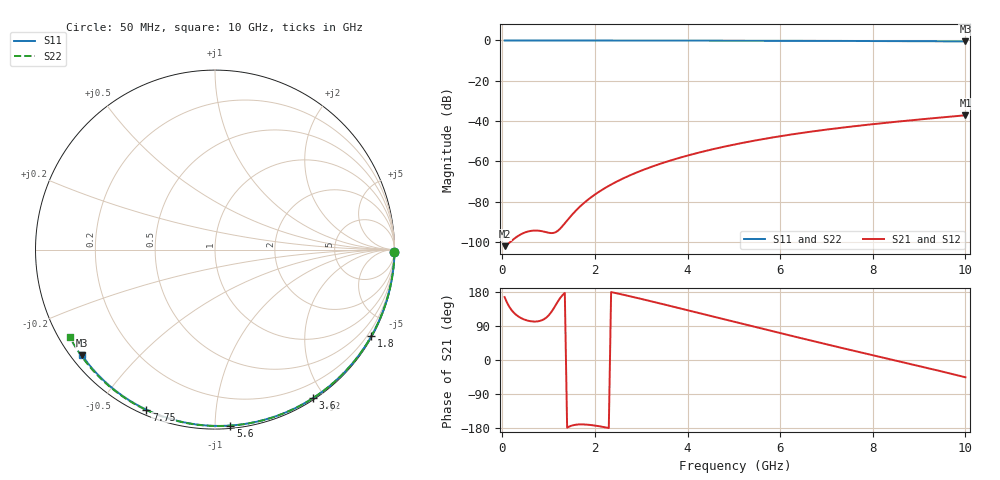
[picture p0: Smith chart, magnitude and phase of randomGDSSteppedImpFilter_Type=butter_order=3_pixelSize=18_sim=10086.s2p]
! freq	dB(S11)	phase(S11)	dB(S12)	phase(S12)
!  dB(S21)	phase(S21)	dB(S22)	phase(S22)
!S-par simulation data
#  GHz  S  DB  R 50
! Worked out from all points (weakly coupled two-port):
!   200 points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, 50 MHz to 10 GHz, reference 50 ohm
!   highest |S21| = -37.15 dB at 10 GHz (marker M1); lowest = -102.1 dB at 50 MHz (marker M2)
!   lowest |S11| = -0.5 dB at 10 GHz (marker M3), VSWR 36.29, Z = 1.55 - j17.5 ohm
!   |S11| at or under -10 dB: nowhere
!   |S22| runs from -0.5 to 0.0 dB; largest |S21 - S12| = 0
!   S11 on the Smith chart (normalised r, x): 50 MHz: open; 1.8 GHz: 0.03, -3.87; 3.6 GHz: 0.02, -1.86; 5.6 GHz: 0.02, -1.09; 7.75 GHz: 0.02, -0.66; 10 GHz: 0.03, -0.35
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0.05  -0.00 -0.8  -102.09 166.0  -102.09 166.0  -0.00 -0.9
0.45  -0.01 -7.4  -95.66 108.0  -95.66 108.0  -0.01 -7.8
0.9  -0.02 -14.6  -94.87 107.6  -94.87 107.6  -0.02 -15.4
1.3  -0.03 -21.0  -92.11 171.1  -92.11 171.1  -0.03 -22.2
1.75  -0.04 -28.2  -80.94 -170.0  -80.94 -170.0  -0.04 -29.7
1.8  -0.04 -29.0  -79.95 -170.3  -79.95 -170.3  -0.04 -30.6
1.95  -0.04 -31.3  -77.28 -172.2  -77.28 -172.2  -0.04 -33.0
2.1  -0.04 -33.7  -74.93 -174.9  -74.93 -174.9  -0.05 -35.5
2.3  -0.05 -36.8  -72.15 -179.5  -72.15 -179.5  -0.05 -38.8
2.5  -0.05 -39.9  -69.71 175.3  -69.71 175.3  -0.05 -42.1
2.9  -0.06 -46.0  -65.54 164.1  -65.54 164.1  -0.06 -48.5
3.4  -0.07 -53.6  -61.29 149.4  -61.29 149.4  -0.07 -56.4
3.6  -0.08 -56.5  -59.81 143.4  -59.81 143.4  -0.08 -59.6
4.3  -0.09 -66.8  -55.34 122.3  -55.34 122.3  -0.10 -70.3
5.05  -0.12 -77.4  -51.47 99.7  -51.47 99.7  -0.13 -81.4
5.6  -0.14 -85.0  -49.08 83.1  -49.08 83.1  -0.15 -89.4
6.15  -0.16 -92.4  -46.99 66.6  -46.99 66.6  -0.17 -97.2
6.7  -0.19 -99.7  -45.15 50.3  -45.15 50.3  -0.20 -104.8
7.75  -0.26 -113.2  -42.18 19.7  -42.18 19.7  -0.28 -119.0
8.35  -0.31 -120.8  -40.71 2.6  -40.71 2.6  -0.33 -127.0
9.2  -0.39 -131.4  -38.80 -21.8  -38.80 -21.8  -0.41 -138.2
10  -0.48 -141.5  -37.15 -45.6  -37.15 -45.6  -0.49 -148.9
